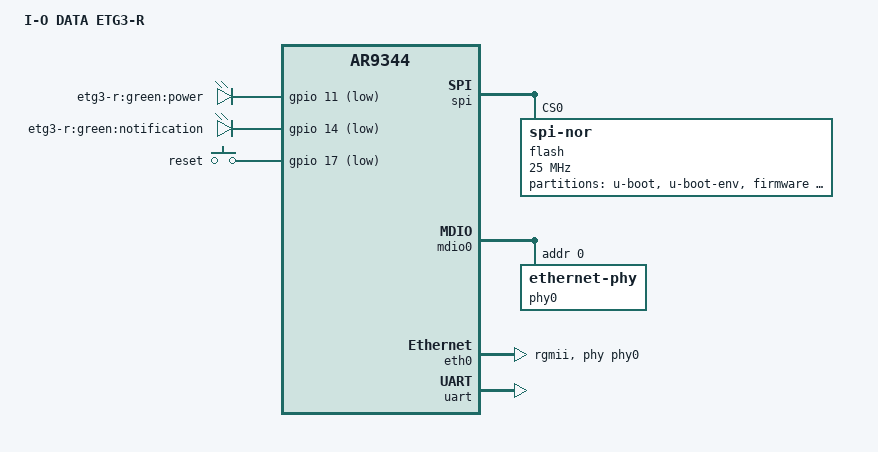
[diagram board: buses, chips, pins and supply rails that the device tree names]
// SPDX-License-Identifier: GPL-2.0-or-later OR MIT
/dts-v1/;

#include <dt-bindings/gpio/gpio.h>
#include <dt-bindings/input/input.h>

#include "ar9344.dtsi"

/ {
	compatible = "iodata,etg3-r", "qca,ar9344";
	model = "I-O DATA ETG3-R";

	aliases {
		led-boot = &power;
		led-failsafe = &power;
		led-running = &power;
		led-upgrade = &power;
	};

	leds {
		compatible = "gpio-leds";

		power: power {
			label = "etg3-r:green:power";
			gpios = <&gpio 11 GPIO_ACTIVE_LOW>;
			default-state = "on";
		};

		notification {
			label = "etg3-r:green:notification";
			gpios = <&gpio 14 GPIO_ACTIVE_LOW>;
		};
	};

	keys {
		compatible = "gpio-keys-polled";
		poll-interval = <20>;

		reset {
			label = "reset";
			linux,code = <KEY_RESTART>;
			gpios = <&gpio 17 GPIO_ACTIVE_LOW>;
			debounce-interval = <60>;
		};
	};
};

&ref {
	clock-frequency = <40000000>;
};

&spi {
	num-cs = <1>;
	status = "okay";

	flash@0 {
		compatible = "jedec,spi-nor";
		reg = <0>;
		spi-max-frequency = <25000000>;

		partitions {
			compatible = "fixed-partitions";
			#address-cells = <1>;
			#size-cells = <1>;

			partition@0 {
				label = "u-boot";
				reg = <0x000000 0x040000>;
				read-only;
			};

			partition@40000 {
				label = "u-boot-env";
				reg = <0x040000 0x010000>;
			};

			partition@50000 {
				compatible = "denx,uimage";
				label = "firmware";
				reg = <0x050000 0x780000>;
			};

			partition@7d0000 {
				label = "Config";
				reg = <0x07d0000 0x10000>;
				read-only;
			};

			partition@7e0000 {
				label = "Rsv";
				reg = <0x07e0000 0x10000>;
				read-only;
			};

			partition@7f0000 {
				label = "ART";
				reg = <0x7f0000 0x010000>;
				read-only;
			};
		};
	};
};

&mdio0 {
	status = "okay";

	phy0: ethernet-phy@0 {
		reg = <0>;
		phy-mode = "rgmii";

		qca,ar8327-initvals = <
			0x04 0x07600000 /* PORT0 PAD MODE CTRL */
			0x50 0xffb7ffb7 /* LED_CTRL0 */
			0x54 0xffb7ffb7 /* LED_CTRL1 */
			0x58 0xffb7ffb7 /* LED_CTRL2 */
			0x5c 0x03ffff00 /* LED_CTRL3 */
			0x7c 0x0000007e /* PORT0_STATUS */
		>;
	};
};

&eth0 {
	status = "okay";

	pll-data = <0x0e000000 0x00000101 0x00001616>;

	phy-mode = "rgmii";
	phy-handle = <&phy0>;

	gmac-config {
		device = <&gmac>;

		rgmii-gmac0 = <1>;
		rxd-delay = <3>;
		rxdv-delay = <3>;
	};
};

&uart {
	status = "okay";
};
